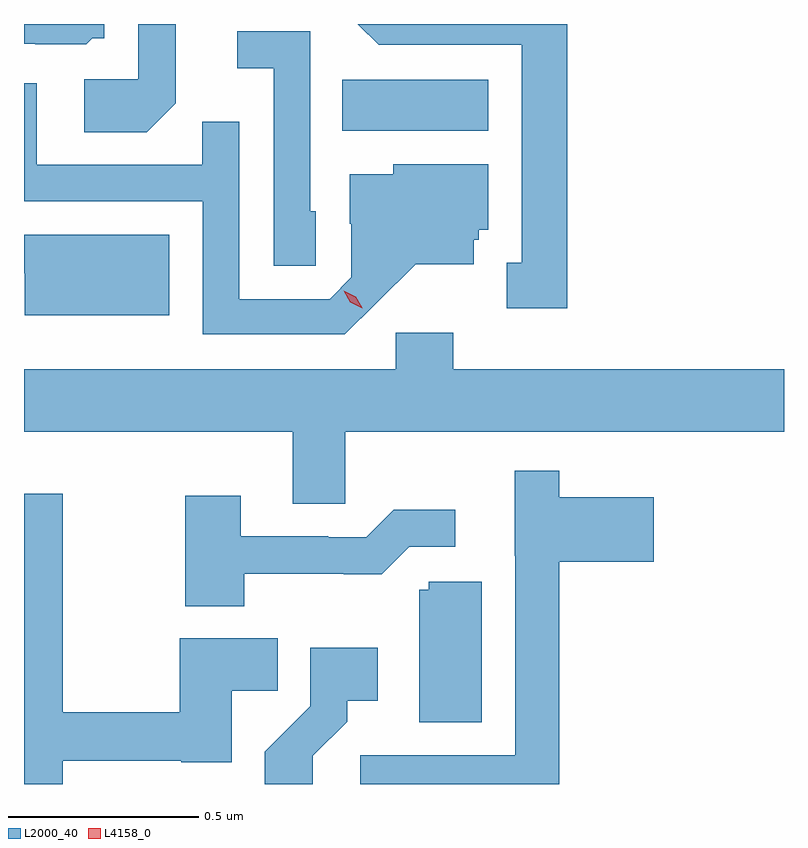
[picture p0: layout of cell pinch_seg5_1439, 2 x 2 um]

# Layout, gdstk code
import gdstk
lib = gdstk.Library(unit=1e-6, precision=1e-09)
def R(c, l, rs):  # rectangles x0, y0, x1, y1
    for r in rs: c.add(gdstk.rectangle(r[:2], r[2:], *l))
def P(c, l, *ps):  # polygons
    for p in ps: c.add(gdstk.Polygon(p, *l))
L2000_40 = (2000, 40)
L4158_0 = (4158, 0)

pinch_seg5_1439 = lib.new_cell('pinch_seg5_1439')
R(pinch_seg5_1439, L2000_40, [(167.782,914.828,168.166,914.962)])
P(pinch_seg5_1439, L2000_40, [(168.373,915.109),(167.822,915.109),(167.877,915.054),(168.254,915.054),(168.254,914.481),(168.215,914.481),(168.215,914.361),(168.373,914.361)],
  [(167.343,914.9),(167.343,915.109),(167.244,915.109),(167.244,914.964),(167.103,914.964),(167.103,914.824),(167.267,914.824)],
  [(167.124,915.072),(167.155,915.072),(167.155,915.109),(166.944,915.109),(166.944,915.057),(166.974,915.057),(166.974,915.056),(167.108,915.056)],
  [(167.712,914.616),(167.697,914.616),(167.697,915.09),(167.505,915.09),(167.505,914.993),(167.601,914.993),(167.601,914.473),(167.712,914.473)],
  [(167.872,914.375),(167.975,914.477),(168.127,914.477),(168.127,914.541),(168.141,914.541),(168.141,914.568),(168.166,914.568),(168.166,914.74),(167.916,914.74),(167.916,914.713),(167.801,914.713),(167.801,914.584),(167.805,914.584),(167.805,914.442),(167.748,914.385),(167.511,914.385),(167.511,914.852),(167.413,914.852),(167.413,914.739),(166.977,914.739),(166.977,914.953),(166.944,914.953),(166.944,914.643),(167.415,914.643),(167.415,914.292),(167.788,914.292)],
  [(167.326,914.554),(166.944,914.554),(166.944,914.453),(166.946,914.453),(166.946,914.342),(167.326,914.342)],
  [(167.79,914.036),(168.944,914.036),(168.944,914.2),(168.074,914.2),(168.074,914.296),(167.922,914.296),(167.922,914.2),(166.944,914.2),(166.944,914.036),(167.651,914.036),(167.651,913.846),(167.79,913.846)],
  [(168.353,913.694),(168.601,913.694),(168.601,913.864),(168.353,913.864),(168.353,913.933),(168.236,913.933),(168.236,913.71),(168.237,913.71),(168.237,913.185),(167.829,913.185),(167.829,913.109),(168.353,913.109)],
  [(167.046,913.17),(167.358,913.17),(167.358,913.166),(167.491,913.166),(167.491,913.354),(167.612,913.354),(167.612,913.492),(167.354,913.492),(167.354,913.298),(167.046,913.298),(167.046,913.873),(166.944,913.873),(166.944,913.109),(167.046,913.109)],
  [(167.523,913.662),(167.786,913.662),(167.786,913.661),(167.885,913.661),(167.958,913.734),(168.079,913.734),(168.079,913.831),(167.917,913.831),(167.844,913.758),(167.744,913.758),(167.744,913.761),(167.515,913.761),(167.515,913.867),(167.368,913.867),(167.368,913.577),(167.523,913.577)],
  [(168.148,913.641),(168.009,913.641),(168.009,913.62),(167.984,913.62),(167.984,913.272),(168.148,913.272)],
  [(167.704,913.183),(167.794,913.273),(167.794,913.328),(167.875,913.328),(167.875,913.468),(167.697,913.468),(167.697,913.313),(167.578,913.194),(167.578,913.109),(167.704,913.109)])
P(pinch_seg5_1439, L4158_0, [(167.834,914.361),(167.803,914.377),(167.786,914.407),(167.786,914.407),(167.786,914.407),(167.817,914.391),(167.834,914.362),(167.834,914.361)])

lib.write_gds('pinch_seg5_1439.gds')
